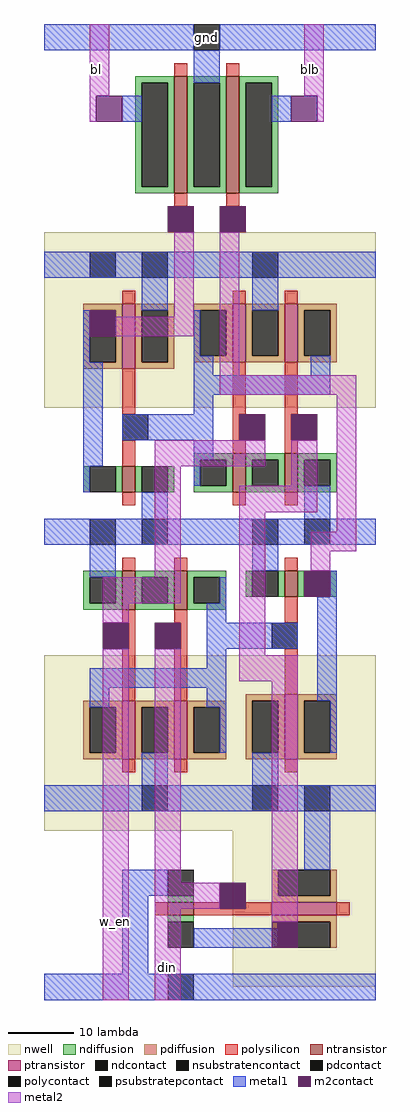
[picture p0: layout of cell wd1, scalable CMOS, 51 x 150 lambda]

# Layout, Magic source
magic
tech scmos
<< ntransistor >>
rect -128 -96 -126 -78
rect -120 -96 -118 -78
<< ndiffusion >>
rect -134 -79 -128 -78
rect -134 -95 -133 -79
rect -129 -95 -128 -79
rect -134 -96 -128 -95
rect -126 -79 -120 -78
rect -126 -95 -125 -79
rect -121 -95 -120 -79
rect -126 -96 -120 -95
rect -118 -79 -112 -78
rect -118 -95 -117 -79
rect -113 -95 -112 -79
rect -118 -96 -112 -95
<< ndcontact >>
rect -133 -95 -129 -79
rect -125 -95 -121 -79
rect -117 -95 -113 -79
<< psubstratepcontact >>
rect -125 -74 -121 -70
<< polysilicon >>
rect -128 -78 -126 -76
rect -120 -78 -118 -76
rect -128 -98 -126 -96
rect -120 -98 -118 -96
<< polycontact >>
rect -129 -102 -125 -98
rect -121 -102 -117 -98
<< metal1 >>
rect -148 -74 -125 -70
rect -121 -74 -97 -70
rect -125 -79 -121 -74
rect -136 -85 -133 -81
rect -113 -85 -110 -81
rect -148 -109 -97 -105
rect -136 -134 -122 -130
rect -148 -150 -97 -146
rect -123 -166 -109 -162
rect -148 -191 -97 -187
rect -148 -220 -97 -216
<< m2contact >>
rect -140 -85 -136 -81
rect -110 -85 -106 -81
rect -129 -102 -125 -98
rect -121 -102 -117 -98
rect -141 -118 -137 -114
rect -118 -134 -114 -130
rect -110 -134 -106 -130
rect -108 -158 -104 -154
rect -139 -166 -135 -162
rect -131 -166 -127 -162
rect -121 -206 -117 -202
rect -113 -212 -109 -208
<< metal2 >>
rect -141 -81 -138 -70
rect -108 -81 -105 -70
rect -141 -85 -140 -81
rect -106 -85 -105 -81
rect -128 -115 -125 -102
rect -137 -118 -125 -115
rect -121 -124 -118 -102
rect -121 -127 -100 -124
rect -131 -138 -114 -134
rect -131 -155 -127 -138
rect -110 -141 -106 -134
rect -139 -159 -127 -155
rect -118 -145 -106 -141
rect -139 -162 -135 -159
rect -139 -220 -135 -166
rect -131 -202 -127 -166
rect -118 -167 -114 -145
rect -103 -148 -100 -127
rect -107 -151 -100 -148
rect -107 -154 -104 -151
rect -118 -171 -109 -167
rect -131 -206 -121 -202
rect -131 -220 -127 -206
rect -113 -208 -109 -171
use nand  nand_1
transform -1 0 -114 0 1 -122
box -17 -28 17 20
use inv  inv_2
transform -1 0 -135 0 1 -125
box -13 -25 13 23
use nand  nand_2
transform 1 0 -131 0 -1 -174
box -17 -28 17 20
use inv  inv_1
transform 1 0 -110 0 -1 -171
box -13 -25 13 23
use inv1  inv1_0
transform 1 0 -88 0 1 -169
box -48 -51 -9 -15
<< labels >>
rlabel psubstratepcontact -123 -72 -123 -72 1 gnd
rlabel metal2 -140 -77 -140 -77 1 bl
rlabel metal2 -107 -77 -107 -77 1 blb
rlabel metal2 -137 -208 -137 -208 1 w_en
rlabel metal2 -129 -215 -129 -215 1 din
<< end >>

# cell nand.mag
magic
tech scmos
<< nwell >>
rect -17 -7 17 20
<< ntransistor >>
rect -5 -20 -3 -14
rect 3 -20 5 -14
<< ptransistor >>
rect -5 0 -3 9
rect 3 0 5 9
<< ndiffusion >>
rect -11 -15 -5 -14
rect -11 -19 -10 -15
rect -6 -19 -5 -15
rect -11 -20 -5 -19
rect -3 -15 3 -14
rect -3 -19 -2 -15
rect 2 -19 3 -15
rect -3 -20 3 -19
rect 5 -15 11 -14
rect 5 -19 6 -15
rect 10 -19 11 -15
rect 5 -20 11 -19
<< pdiffusion >>
rect -11 8 -5 9
rect -11 1 -10 8
rect -6 1 -5 8
rect -11 0 -5 1
rect -3 8 3 9
rect -3 1 -2 8
rect 2 1 3 8
rect -3 0 3 1
rect 5 8 11 9
rect 5 1 6 8
rect 10 1 11 8
rect 5 0 11 1
<< ndcontact >>
rect -10 -19 -6 -15
rect -2 -19 2 -15
rect 6 -19 10 -15
<< pdcontact >>
rect -10 1 -6 8
rect -2 1 2 8
rect 6 1 10 8
<< psubstratepcontact >>
rect -2 -28 2 -24
<< nsubstratencontact >>
rect -2 13 2 17
<< polysilicon >>
rect -5 9 -3 11
rect 3 9 5 11
rect -5 -8 -3 0
rect 3 -8 5 0
rect -4 -12 -3 -8
rect 4 -12 5 -8
rect -5 -14 -3 -12
rect 3 -14 5 -12
rect -5 -22 -3 -20
rect 3 -22 5 -20
<< polycontact >>
rect -8 -12 -4 -8
rect 0 -12 4 -8
<< metal1 >>
rect -11 13 -2 17
rect 2 13 11 17
rect -2 8 2 13
rect 10 1 11 8
rect -10 -2 -7 1
rect 8 -2 11 1
rect -10 -5 11 -2
rect 8 -15 11 -5
rect 10 -19 11 -15
rect -10 -24 -6 -19
rect -11 -28 -2 -24
rect 2 -28 11 -24
<< labels >>
rlabel metal1 -8 -26 -8 -26 1 gnd
rlabel metal1 10 -5 10 -5 1 y
rlabel metal1 -8 15 -8 15 5 vdd
rlabel polycontact -6 -10 -6 -10 1 a
rlabel polycontact 2 -10 2 -10 1 b
<< end >>

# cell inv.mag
magic
tech scmos
<< nwell >>
rect -13 -4 13 23
<< ntransistor >>
rect -1 -17 1 -13
<< ptransistor >>
rect -1 2 1 12
<< ndiffusion >>
rect -7 -17 -6 -13
rect -2 -17 -1 -13
rect 1 -17 2 -13
rect 6 -17 7 -13
<< pdiffusion >>
rect -7 11 -1 12
rect -7 3 -6 11
rect -2 3 -1 11
rect -7 2 -1 3
rect 1 11 7 12
rect 1 3 2 11
rect 6 3 7 11
rect 1 2 7 3
<< ndcontact >>
rect -6 -17 -2 -13
rect 2 -17 6 -13
<< pdcontact >>
rect -6 3 -2 11
rect 2 3 6 11
<< psubstratepcontact >>
rect -6 -25 -2 -21
rect 2 -25 6 -21
<< nsubstratencontact >>
rect -6 16 -2 20
rect 2 16 6 20
<< polysilicon >>
rect -1 12 1 14
rect -1 -5 1 2
rect -1 -13 1 -9
rect -1 -19 1 -17
<< polycontact >>
rect -3 -9 1 -5
<< metal1 >>
rect -7 16 -6 20
rect -2 16 2 20
rect 6 16 7 20
rect -6 11 -2 16
rect 6 3 7 11
rect 4 -13 7 3
rect 6 -17 7 -13
rect -6 -21 -2 -17
rect -7 -25 -6 -21
rect -2 -25 2 -21
rect 6 -25 7 -21
<< labels >>
rlabel metal1 0 18 0 18 5 vdd
rlabel metal1 0 -23 0 -23 1 gnd
rlabel metal1 5 -8 5 -8 1 out
rlabel polycontact -1 -7 -1 -7 1 in
<< end >>

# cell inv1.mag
magic
tech scmos
<< nwell >>
rect -31 -49 -9 -15
<< ntransistor >>
rect -41 -38 -37 -36
<< ptransistor >>
rect -25 -38 -15 -36
<< ndiffusion >>
rect -41 -36 -37 -35
rect -41 -39 -37 -38
<< pdiffusion >>
rect -25 -35 -24 -31
rect -16 -35 -15 -31
rect -25 -36 -15 -35
rect -25 -39 -15 -38
rect -25 -43 -24 -39
rect -16 -43 -15 -39
<< ndcontact >>
rect -41 -35 -37 -31
rect -41 -43 -37 -39
<< pdcontact >>
rect -24 -35 -16 -31
rect -24 -43 -16 -39
<< psubstratepcontact >>
rect -41 -51 -37 -47
<< nsubstratencontact >>
rect -20 -22 -16 -18
<< polysilicon >>
rect -43 -38 -41 -36
rect -37 -37 -33 -36
rect -29 -37 -25 -36
rect -37 -38 -25 -37
rect -15 -38 -13 -36
<< polycontact >>
rect -33 -37 -29 -33
<< metal1 >>
rect -20 -31 -16 -22
rect -48 -35 -41 -31
rect -48 -47 -44 -35
rect -37 -43 -24 -40
rect -48 -51 -41 -47
<< labels >>
rlabel metal1 -18 -29 -18 -29 7 vdd
rlabel metal1 -32 -41 -32 -41 3 out
rlabel polycontact -31 -35 -31 -35 3 in
rlabel metal1 -46 -49 -46 -49 1 gnd
<< end >>
